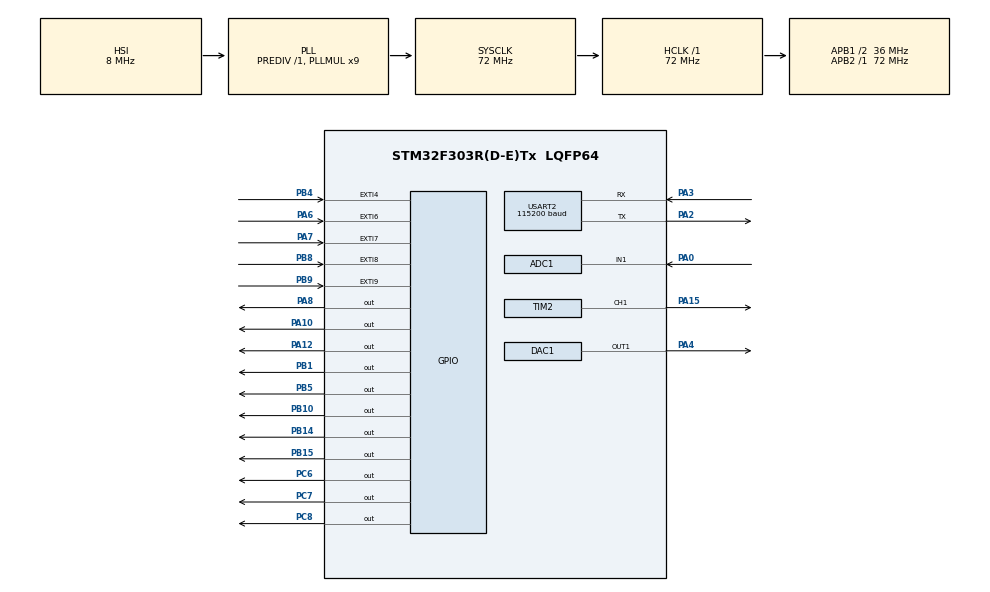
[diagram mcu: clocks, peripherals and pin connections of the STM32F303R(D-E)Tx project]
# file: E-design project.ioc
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ADC1.Channel-1\#ChannelRegularConversion=ADC_CHANNEL_1
ADC1.NbrOfConversionFlag=1
ADC1.Offset-1\#ChannelRegularConversion=0
ADC1.OffsetNumber-1\#ChannelRegularConversion=ADC_OFFSET_NONE
ADC1.Rank-1\#ChannelRegularConversion=1
ADC1.SamplingTime-1\#ChannelRegularConversion=ADC_SAMPLETIME_1CYCLE_5
ADC1.master=1
DAC1.DAC_Trigger=DAC_TRIGGER_T3_TRGO
Dma.DAC1_CH1.0.Direction=DMA_MEMORY_TO_PERIPH
Dma.DAC1_CH1.0.Instance=DMA1_Channel3
Dma.DAC1_CH1.0.MemDataAlignment=DMA_MDATAALIGN_WORD
Dma.DAC1_CH1.0.MemInc=DMA_MINC_ENABLE
Dma.DAC1_CH1.0.Mode=DMA_CIRCULAR
Dma.DAC1_CH1.0.PeriphDataAlignment=DMA_PDATAALIGN_WORD
Dma.DAC1_CH1.0.PeriphInc=DMA_PINC_DISABLE
Dma.DAC1_CH1.0.Priority=DMA_PRIORITY_LOW
Dma.Request0=DAC1_CH1
Mcu.Family=STM32F3
Mcu.Name=STM32F303R(D-E)Tx
Mcu.Package=LQFP64
NVIC.DMA1_Channel3_IRQn=true\:0\:0\:false\:false\:true\:false\:true
NVIC.EXTI4_IRQn=true\:0\:0\:false\:false\:true\:true\:true
NVIC.EXTI9_5_IRQn=true\:0\:0\:false\:false\:true\:true\:true
NVIC.PriorityGroup=NVIC_PRIORITYGROUP_0
NVIC.TIM2_IRQn=true\:0\:0\:false\:false\:true\:true\:true
NVIC.USART2_IRQn=true\:0\:0\:false\:false\:true\:true\:true
PA0.Mode=IN1-Single-Ended
PA0.Signal=ADC1_IN1
PA10.GPIO_ModeDefaultOutputPP=GPIO_MODE_OUTPUT_OD
PA10.Signal=GPIO_Output
PA12.GPIO_ModeDefaultOutputPP=GPIO_MODE_OUTPUT_OD
PA12.Signal=GPIO_Output
PA13.Mode=Serial_Wire
PA13.Signal=SYS_JTMS-SWDIO
PA14.Mode=Serial_Wire
PA14.Signal=SYS_JTCK-SWCLK
PA15.Signal=S_TIM2_CH1_ETR
PA2.Mode=Asynchronous
PA2.Signal=USART2_TX
PA3.Mode=Asynchronous
PA3.Signal=USART2_RX
PA4.Signal=COMP_DAC11_group
PA6.GPIO_PuPd=GPIO_PULLUP
PA6.Signal=GPXTI6
PA7.GPIO_PuPd=GPIO_PULLUP
PA7.Signal=GPXTI7
PA8.Signal=GPIO_Output
PB1.Signal=GPIO_Output
PB10.Signal=GPIO_Output
PB14.Signal=GPIO_Output
PB15.Signal=GPIO_Output
PB4.GPIO_PuPd=GPIO_PULLUP
PB4.Signal=GPXTI4
PB5.Signal=GPIO_Output
PB8.GPIO_PuPd=GPIO_PULLUP
PB8.Signal=GPXTI8
PB9.GPIO_PuPd=GPIO_PULLUP
PB9.Signal=GPXTI9
PC14-OSC32_IN.Mode=LSE-External-Oscillator
PC14-OSC32_IN.Signal=RCC_OSC32_IN
PC15-OSC32_OUT.Mode=LSE-External-Oscillator
PC15-OSC32_OUT.Signal=RCC_OSC32_OUT
PC6.GPIO_ModeDefaultOutputPP=GPIO_MODE_OUTPUT_OD
PC6.Signal=GPIO_Output
PC7.Signal=GPIO_Output
PC8.GPIO_ModeDefaultOutputPP=GPIO_MODE_OUTPUT_OD
PC8.Signal=GPIO_Output
PF0-OSC_IN.Mode=HSE-External-Clock-Source
PF0-OSC_IN.Signal=RCC_OSC_IN
ProjectManager.HeapSize=0x200
ProjectManager.StackSize=0x400
ProjectManager.TargetToolchain=STM32CubeIDE
RCC.AHBFreq_Value=72000000
RCC.APB1CLKDivider=RCC_HCLK_DIV2
RCC.APB1Freq_Value=36000000
RCC.APB1TimFreq_Value=72000000
RCC.APB2Freq_Value=72000000
RCC.APB2TimFreq_Value=72000000
RCC.CortexFreq_Value=72000000
RCC.HCLKFreq_Value=72000000
RCC.HSE_VALUE=8000000
RCC.HSI_VALUE=8000000
RCC.PLLM=8
RCC.PLLMUL=RCC_PLL_MUL9
RCC.PLLN=336
RCC.PLLP=RCC_PLLP_DIV4
RCC.PLLQ=7
RCC.RCC_PLLsource_Clock_Source_FROM_HSE=RCC_HSE_PREDIV_DIV2
RCC.SYSCLKFreq_VALUE=72000000
RCC.SYSCLKSourceVirtual=RCC_SYSCLKSOURCE_PLLCLK
RCC.USBFreq_Value=72000000
SH.COMP_DAC11_group.0=DAC1_OUT1,DAC_OUT1
SH.S_TIM2_CH1_ETR.0=TIM2_CH1,Output Compare1 CH1
TIM1.Period=0xffff
TIM1.Prescaler=72-1
TIM2.Channel-Output\ Compare1\ CH1=TIM_CHANNEL_1
TIM2.Period=99
TIM2.Prescaler=71
TIM3.Period=10-1
TIM3.Prescaler=72-1
TIM3.TIM_MasterOutputTrigger=TIM_TRGO_UPDATE
USART2.BaudRate=115200
USART2.VirtualMode-Asynchronous=VM_ASYNC
VP_TIM1_VS_ClockSourceINT.Mode=Internal
VP_TIM2_VS_ClockSourceINT.Mode=Internal
VP_TIM3_VS_ClockSourceINT.Mode=Internal
board=NUCLEO-F303RE

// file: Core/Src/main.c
/* USER CODE BEGIN Header */
/**
  ******************************************************************************
  * @file           : main.c
  * @brief          : Main program body
  ******************************************************************************
  * @attention
  *
  * <h2><center>&copy; Copyright (c) 2022 STMicroelectronics.
  * All rights reserved.</center></h2>
  *
  * This software component is licensed by ST under BSD 3-Clause license,
  * the "License"; You may not use this file except in compliance with the
  * License. You may obtain a copy of the License at:
  *                        opensource.org/licenses/BSD-3-Clause
  *
  ******************************************************************************
  */
/* USER CODE END Header */

#include "main.h"

/* USER CODE BEGIN Includes */
#include <stdio.h>
#include <stdlib.h>
#include <math.h>

/* USER CODE END Includes */

/* USER CODE BEGIN PD */
#define RS_PORT GPIOB
#define RS_PIN GPIO_PIN_14
#define RW_PORT GPIOB
#define RW_PIN GPIO_PIN_15
#define EN_PORT GPIOB
#define EN_PIN GPIO_PIN_1
#define D4_PORT GPIOA
#define D4_PIN GPIO_PIN_10
#define D5_PORT GPIOA
#define D5_PIN GPIO_PIN_12
#define D6_PORT GPIOC
#define D6_PIN GPIO_PIN_6
#define D7_PORT GPIOC
#define D7_PIN GPIO_PIN_8
#define PI 3.1415926
/* USER CODE END PD */

ADC_HandleTypeDef hadc1;

DAC_HandleTypeDef hdac1;
DMA_HandleTypeDef hdma_dac1_ch1;

TIM_HandleTypeDef htim1;
TIM_HandleTypeDef htim2;
TIM_HandleTypeDef htim3;

UART_HandleTypeDef huart2;

/* USER CODE BEGIN PV */
extern volatile int ADC_trigger;

/* USER CODE END PV */

void SystemClock_Config(void);
static void MX_GPIO_Init(void);
static void MX_DMA_Init(void);
static void MX_USART2_UART_Init(void);
static void MX_ADC1_Init(void);
static void MX_DAC1_Init(void);
static void MX_TIM2_Init(void);
static void MX_TIM3_Init(void);
static void MX_TIM1_Init(void);

/* USER CODE BEGIN 0 */

//student number
uint8_t sn[13] = "@,23594780,!\n";
uint8_t marker[6] = "Marker";
uint8_t rx[1];

//Status
uint8_t receiveCommand = 0;
uint8_t measurementMode[2] = "DV";
uint8_t outputType[1] = "d";
uint8_t outputState = 1;
uint8_t measureParameter;
uint8_t commandType = 0;
enum measureTypes{t, a, o, f, d, c};
enum measureTypes measure_type;

//ADC variables
uint32_t adc_measure = 0;
uint32_t prev_measure = 0;
uint8_t max_reached = 1;
uint8_t min_reached = 0 ;

double period = 0;
double freq = 0;
double pk_volt = 0;
double offset = 0;
uint32_t nr_measured_dv = 1;
uint32_t nr_measured_av = 1;
uint32_t total_measured = 0;
double avg_dv_val = 0;
double avg_av_val = 0;

uint32_t max = 0 ;
uint32_t min = 4095 ;
uint32_t hundred= 100;
uint8_t sampling_enabled = 0;
double nr_samples = 0;
double sampling_freq = 10000;
uint32_t avg_cross = 0;

uint8_t type = 100;
uint64_t freq_int = 0;
uint64_t avg_dv_int = 1000;
uint64_t offset_int = 0;
uint64_t amp_int = 0;

//Call back function
uint8_t counter = 0;
uint8_t input[20];
uint8_t numBytes;

//System state is in Menu state (indicated by a 0)
uint8_t systemState = 1;
uint8_t prevSystemState = 2;

//DAC variables
uint8_t startDMA = 0;
uint8_t stopDMA = 0;
uint32_t signal_buffer[1000];

float amplitude_DAC = 1000;
uint32_t frequency_DAC = 1000;
float DC_offset_DAC = 1000;
float S_offset_DAC = 1200;
uint32_t duty_cycle_DAC = 0;
uint8_t signal_type_DAC[1] = "d";
uint8_t parameter_type_DAC[1] = "o";

//LCD variables
uint8_t clearFlag = 0;
uint8_t lcdDisplay = 1;
uint8_t stateOne = 0;
uint8_t stateTwo = 0;

//Menu variables
uint8_t display_state = 1;
uint32_t lastTick = 20000;
uint8_t measurement_state = 1;
uint8_t output_branch_state = 1;
int amp;
int offset1;
int freq1;
int dutcyc;

//LCD display flags
uint8_t measurement_state_has_displayed = 0;
uint8_t system_state_1_has_displayed = 0;
uint8_t output_state_has_displayed = 0;
uint8_t display_state_2_has_displayed = 0;
uint8_t output_LED_has_displayed = 0;

//Button variables
int downButtonPressed;
int upButtonPressed;
int rightButtonPressed;
int leftButtonPressed;
int buttonPressed;

uint32_t lastTick0 = 0;
uint32_t lastTick1 = 0;
uint32_t lastTick2 = 0;
uint32_t lastTick3 = 0;
uint32_t lastTick4 = 0;

//Helping comment
/*
measurement_state_has_displayed = 0;
system_state_1_has_displayed = 0;
output_state_has_displayed = 0;
display_state_2_has_displayed = 0;
systemState = 1;
measurement_state = 1;
output_branch_state = 1;
display_state = 1;
*/

void delay (uint16_t us)
{
  __HAL_TIM_SET_COUNTER(&htim1, 0);
  while (__HAL_TIM_GET_COUNTER(&htim1) < us);
}

void HAL_GPIO_EXTI_Callback(uint16_t GPIO_Pin)
 {
	if (GPIO_Pin == GPIO_PIN_4) {
		if ((HAL_GetTick() - lastTick0) > 100) {
			buttonPressed = 1;
			lastTick0 = HAL_GetTick();
		}
	} else if (GPIO_Pin == GPIO_PIN_6) {
		if (HAL_GetTick() - lastTick1 > 100) {
			downButtonPressed = 1;
			lastTick1 = HAL_GetTick();
		}
	} else if (GPIO_Pin == GPIO_PIN_7) {
		if (HAL_GetTick() - lastTick2 > 100) {
			rightButtonPressed = 1;
			lastTick2 = HAL_GetTick();
		}
	} else if (GPIO_Pin == GPIO_PIN_8) {
		if (HAL_GetTick() - lastTick3 > 100) {
			leftButtonPressed = 1;
			lastTick3 = HAL_GetTick();
		}
	} else if (GPIO_Pin == GPIO_PIN_9) {
		if ((HAL_GetTick() - lastTick4) > 100) {
			upButtonPressed = 1;
			lastTick4 = HAL_GetTick();
		}
	}
}

void HAL_UART_RxCpltCallback(UART_HandleTypeDef *huart)
{

	if (rx[0] != 10)
	{
		input[counter] = rx[0];
		counter++;
	}
	else
	{
		input[counter] = 10;
		numBytes = counter+1;
		counter = 0;
		receiveCommand = 1;
	}

	HAL_UART_Receive_IT(&huart2, rx, 1);
}

void determineCommandType()
{

	if (input[0] == 64 && input[2] == 35)
	{
		commandType = 1;
	}
	else if (input[0] == 64 && input[2] == 36)
	{
		commandType = 2;
	}
	else if (input[0] == 64 && input[2] == 94)
	{
		commandType = 3;
	}
	else if (input[0] == 64 && input[2] == 42 && input[4] == 115)
	{
		commandType = 4;
	}
	else if (input[0] == 64 && input[2] == 42 && input[4] == 109)
	{
		commandType = 5;
	}
	else
	{
		commandType = 0;
	}
}

void adc_Measure() {

	HAL_ADC_Start(&hadc1);
	HAL_StatusTypeDef res = HAL_ADC_PollForConversion(&hadc1, 50);

	if (res == HAL_OK) {

		adc_measure = HAL_ADC_GetValue(&hadc1);

		//calibrating error of adc value:
		if (adc_measure > 100 && adc_measure < 200) {
			adc_measure += 50;
		}
		else if (adc_measure >= 200 && adc_measure < 300)
		{
			adc_measure += 60;
		}
		else if (adc_measure >= 300 && adc_measure < 400)
		{
			adc_measure += 75;
		}
		else if (adc_measure >= 400 && adc_measure <1000)
		{
			adc_measure += 110;
		}
		else if (adc_measure >= 1000)
		{
			adc_measure += 120;
		}

		if (measurementMode[0] == 'D' && measurementMode[1] == 'V') {

			//for dc count measurements and sum measurements
			//avg = total/count
			total_measured += adc_measure;
			if (nr_measured_dv == 2000) {
				avg_dv_val = total_measured / nr_measured_dv;
				avg_dv_val = avg_dv_val / 4095 * 3300;
				avg_dv_int = (uint64_t) (avg_dv_val*2);
				total_measured = 0;
				nr_measured_dv = 1;

			}
			nr_measured_dv++;
		}

		if (measurementMode[0] == 'A' && measurementMode[1] == 'V') {
			//get max
			if (adc_measure >= max) {
				max = adc_measure;
			}
			//get min
			if (adc_measure <= min) {
				min = adc_measure;
			}

			//counts how many times avg crossed
			//only triggered to count once every period (min_reached controls this)
			if ((adc_measure >= avg_av_val) && (min_reached)) {
				max_reached = 1;
				avg_cross++;

				//freq avg in 100 waves
				if (avg_cross == 100) {
					//freg = asamp_freq/(nr_samples since last avg cross)
					freq = (sampling_freq / nr_samples) * 100;
					freq_int = (uint64_t) (freq*2);
					nr_samples = 0;
					avg_cross = 0;
				}
				min_reached = 0;
			}

			nr_samples += 1;

			if ((adc_measure <= avg_av_val) && (max_reached)) {
				min_reached = 1;
				max_reached = 0;
			}

			total_measured += adc_measure;
			nr_measured_av++;

			if (nr_measured_av == 7000) {
				avg_av_val = total_measured / nr_measured_av;
				pk_volt = max - min;
				pk_volt = (pk_volt) / 4095 * 3300;

				amp_int = (uint64_t) (pk_volt*2);

				offset = avg_av_val / 4095 * 3300;
				offset_int = (uint64_t) (offset*2);

				total_measured = 0;
				nr_measured_av = 0;
				max = 0;
				min = 4095;
			}

		}
	}
	HAL_ADC_Stop(&hadc1);
}

void commandFourResponse()
{
	outputState = input[6]-48;
	if (outputState == 1)
	{
		stopDMA = 0;
	}

	uint8_t statusMessage[11] = "@,xx,x,x,!x";
	statusMessage[2] = measurementMode[0];
	statusMessage[3] = measurementMode[1];
	statusMessage[5] = signal_type_DAC[0];
	statusMessage[7] = input[6];
	statusMessage[10] = 10;
	HAL_UART_Transmit(&huart2, statusMessage, 11, 50);
}

void send_to_lcd (char data, int rs)
{
	HAL_GPIO_WritePin(RS_PORT, RS_PIN, rs);  // rs = 1 for data, rs=0 for command

	/* write the data to the respective pin */
	HAL_GPIO_WritePin(D7_PORT, D7_PIN, ((data>>3)&0x01));
	HAL_GPIO_WritePin(D6_PORT, D6_PIN, ((data>>2)&0x01));
	HAL_GPIO_WritePin(D5_PORT, D5_PIN, ((data>>1)&0x01));
	HAL_GPIO_WritePin(D4_PORT, D4_PIN, ((data>>0)&0x01));

	/* Toggle EN PIN to send the data
	 * if the HCLK > 100 MHz, use the  20 us delay
	 * if the LCD still doesn't work, increase the delay to 50, 80 or 100..
	 */
	HAL_GPIO_WritePin(EN_PORT, EN_PIN, 1);
	delay(20);
	HAL_GPIO_WritePin(EN_PORT, EN_PIN, 0);
	delay(20);

}

void lcd_send_cmd (char cmd)
{
    char datatosend;
    /* send upper nibble first */
    datatosend = ((cmd>>4)&0x0f);
    send_to_lcd(datatosend,0);  // RS must be while sending command
    /* send Lower Nibble */
    datatosend = ((cmd)&0x0f);
    send_to_lcd(datatosend, 0);
}

void lcd_send_data (char data)
{
    char datatosend;

    /* send higher nibble */
    datatosend = ((data>>4)&0x0f);
    send_to_lcd(datatosend, 1);  // rs =1 for sending data
    /* send Lower nibble */
    datatosend = ((data)&0x0f);
    send_to_lcd(datatosend, 1);
}

void lcd_put_cur(int row, int col)
{
    switch (row)
    {
        case 0:
            col |= 0x80;
            break;
        case 1:
            col |= 0xC0;
            break;
    }
    lcd_send_cmd (col);
}

void lcd_init (void)
{
    // 4 bit initialisation
    HAL_Delay(50);  // wait for >40ms
    lcd_send_cmd (0x30);
    HAL_Delay(5);  // wait for >4.1ms
    lcd_send_cmd (0x30);
    HAL_Delay(1);  // wait for >100us
    lcd_send_cmd (0x30);
    HAL_Delay(10);
    lcd_send_cmd (0x20);  // 4bit mode
    HAL_Delay(10);

  // dislay initialisation
    lcd_send_cmd (0x28); // Function set --> DL=0 (4 bit mode), N = 1 (2 line display) F = 0 (5x8 characters)
    HAL_Delay(1);
    lcd_send_cmd (0x08); //Display on/off control --> D=0,C=0, B=0  ---> display off
    HAL_Delay(1);
    lcd_send_cmd (0x01);  // clear display
    HAL_Delay(1);
    HAL_Delay(1);
    lcd_send_cmd (0x06); //Entry mode set --> I/D = 1 (increment cursor) & S = 0 (no shift)
    HAL_Delay(1);
    lcd_send_cmd (0x0E); //Display on/off control --> D = 1, C and B = 0. (Cursor and blink, last two bits)
}

void lcd_send_string (char *str)
{
	while (*str) lcd_send_data (*str++);
}

void lcd_clear (void)
{
	lcd_send_cmd(0x01);
	HAL_Delay(2);
}

void lcd_scroll_left_or_right(int left)
{
	if (left == 1)
	{
		lcd_send_cmd(0x1c);
	}
	else
	{
		lcd_send_cmd(0x18);
	}
}

void calculateDCSignalBuffer(uint32_t offset)
{

	for (int i = 0; i < 1000; i++)
	{
		signal_buffer[i] = ((offset*0.49)*4095.0/3300.0);
	}
}

void calculateSinusoidalSignalBuffer(float amplitude, uint32_t frequency, float offset)
{
	int ns = 100000/frequency;
	offset = offset/1000;
	amplitude = amplitude/1000;

	for (int i = 0; i < 1000; i++)
	{
		signal_buffer[i] = (amplitude*sin(i*2*PI/ns)/3.3 + offset*0.571)*(4096/2);
	}
}

void calculateSinusoidalSignalBuffer1(float amplitude, uint32_t frequency, float offset)
{
	int ns = 100000/frequency;
	offset = offset/1000;
	amplitude = amplitude/1000;

	for (int i = 0; i < 1000; i++)
	{
		signal_buffer[i] = (amplitude*0.246*sin(i*2*PI/ns)+(0.5*offset))*(4096/3.3);
	}
}

void calculateSinusoidalSignalBuffer2(float amplitude, uint32_t frequency, float offset)
{
	int signal_frequency = 200000/frequency;

	for (int i = 0; i < 2000; i++)
	{
		signal_buffer[i] = (((amplitude/2000) * sin(i*2*PI/signal_frequency) + offset/2000) * (4096/3.3));
	}
}

void calculatePulseSignalBuffer(float amplitude, uint32_t frequency, float offset, uint32_t duty_cycle)
{
	int num;
	int num1 = 100000/frequency;
	num = num1*(duty_cycle/100.0);

	for (int i = 0; i < 1000; i++)
	{
		if (i%num1 < num)
		{
			signal_buffer[i] = (((amplitude+offset)*0.49)*4095.0/3300.0);
		}
		else
		{
			signal_buffer[i] = ((offset*0.49)*4095.0/3300.0);
		}

	}
}

void fillBuffer(uint8_t signal_type_DAC[], float amplitude, uint32_t frequency, float offset)
{
	if (signal_type_DAC[0] == 'd')
	{
	calculateDCSignalBuffer(offset);
	}
	else if (signal_type_DAC[0] == 's')
	{
		calculateSinusoidalSignalBuffer(amplitude, frequency, offset);
	}
}

void setDACValue() {
	if (input[4] == 't') {
		signal_type_DAC[0] = input[6];
	} else {
		int value = ((input[6] - 48) * 1000) + ((input[7] - 48) * 100)
				+ ((input[8] - 48) * 10) + (input[9] - 48);

		if (parameter_type_DAC[0] == 'a') {
			amplitude_DAC = value;
		} else if (parameter_type_DAC[0] == 'o') {
			if (signal_type_DAC[0] == 'd') {
				DC_offset_DAC = value;
			} else if (signal_type_DAC[0] == 's') {
				S_offset_DAC = value;
			}
		} else if (parameter_type_DAC[0] == 'f') {
			frequency_DAC = value;
		} else if (parameter_type_DAC[0] == 'd') {
			duty_cycle_DAC = value;
		}

	}
}

void outputDAC()
{
	if (startDMA == 0)
	{
		if (signal_type_DAC[0] == 'd')
			{
			HAL_TIM_Base_Start(&htim3);
			calculateDCSignalBuffer(DC_offset_DAC);
			HAL_DAC_Start_DMA(&hdac1, DAC1_CHANNEL_1, signal_buffer, 1000, DAC_ALIGN_12B_R);
			}
			else if (signal_type_DAC[0] == 's')
			{
				HAL_TIM_Base_Start(&htim3);
				calculateSinusoidalSignalBuffer1(amplitude_DAC, frequency_DAC, S_offset_DAC);
				HAL_DAC_Start_DMA(&hdac1, DAC1_CHANNEL_1, signal_buffer, 1000, DAC_ALIGN_12B_R);
			} else if (signal_type_DAC[0] == 'p')
			{
				HAL_TIM_Base_Start(&htim3);
				calculatePulseSignalBuffer(amplitude_DAC, frequency_DAC, S_offset_DAC, duty_cycle_DAC);
				HAL_DAC_Start_DMA(&hdac1, DAC1_CHANNEL_1, signal_buffer, 1000, DAC_ALIGN_12B_R);
			}
		startDMA = 1;
	}

}

void stopOutputDAC()
{
	HAL_TIM_Base_Stop_IT(&htim3);
	HAL_DAC_Stop_DMA(&hdac1, DAC1_CHANNEL_1);
	startDMA = 0;

}

int determineValue()
{
	int16_t value = 0;

	if (input[6] == 116) {
		value = -1;
	} else if (input[6] == 97) {
		value = amp_int;
	} else if (input[6] == 111) {
		if (measurementMode[0] == 'D' && measurementMode[1] == 'V')
		{
			value = avg_dv_int;
		}
		else if (measurementMode[0] == 'A' && measurementMode[1] == 'V')
		{
			value = offset_int;
		}

	} else if (input[6] == 102) {
		value = freq_int;
	}

	return value;
}

void displayMeasurementMessage(int16_t value)
{
	uint8_t measurementMessage[13];

	if (value < 0) {
		measurementMessage[0] = 64;
		measurementMessage[1] = 44;
		measurementMessage[2] = 42;
		measurementMessage[3] = 44;
		measurementMessage[4] = measureParameter;
		measurementMessage[5] = 44;
		measurementMessage[6] = 32;
		measurementMessage[7] = type;
		measurementMessage[8] = 32;
		measurementMessage[9] = 32;
		measurementMessage[10] = 44;
		measurementMessage[11] = 33;
		measurementMessage[12] = 10;
	} else {
		uint8_t valueInStringForm[4] = "0000";
		valueInStringForm[0] = ((value / 1000) % 10) + 48;
		valueInStringForm[1] = ((value / 100) % 10) + 48;
		valueInStringForm[2] = ((value / 10) % 10) + 48;
		valueInStringForm[3] = (value % 10) + 48;
		measurementMessage[0] = 64;
		measurementMessage[1] = 44;
		measurementMessage[2] = 42;
		measurementMessage[3] = 44;
		measurementMessage[4] = measureParameter;
		measurementMessage[5] = 44;
		measurementMessage[6] = valueInStringForm[0];
		measurementMessage[7] = valueInStringForm[1];
		measurementMessage[8] = valueInStringForm[2];
		measurementMessage[9] = valueInStringForm[3];
		measurementMessage[10] = 44;
		measurementMessage[11] = 33;
		measurementMessage[12] = 10;
	}
	HAL_UART_Transmit(&huart2, measurementMessage, 13, 50);
}

void executeLCDCommand()
{
	uint8_t byte;
	byte = input[6];

}

void executeCommand()
{
	if (commandType == 1) {
		executeLCDCommand();
	} else if (commandType == 2) {
		measurementMode[0] = input[4];
		measurementMode[1] = input[5];
		measurement_state_has_displayed = 0;
		system_state_1_has_displayed = 0;
		output_state_has_displayed = 0;
		display_state_2_has_displayed = 0;
		systemState = 2;
		if (measurementMode[0] == 'D' && measurementMode[1] == 'V')
		{
			measurement_state = 2;
		}
		else if (measurementMode[0] == 'A' && measurementMode[1] == 'V')
		{
			measurement_state = 3;
		}
		output_branch_state = 1;
		display_state = 1;
		lcd_clear();
	} else if (commandType == 3) {
		parameter_type_DAC[0] = input[4];
		measurement_state_has_displayed = 0;
		system_state_1_has_displayed = 0;
		output_state_has_displayed = 0;
		display_state_2_has_displayed = 0;
		systemState = 3;
		measurement_state = 1;
		display_state = 1;
		setDACValue();
		if (parameter_type_DAC[0] == 't') {
			if (signal_type_DAC[0] == 'd') {
				output_branch_state = 3;
			} else if (signal_type_DAC[0] == 's') {
				output_branch_state = 4;
			} else if (signal_type_DAC[0] == 'p') {
				output_branch_state = 5;
			}
		} else if (parameter_type_DAC[0] == 'a') {
				output_branch_state = 8;
		} else if (parameter_type_DAC[0] == 'o') {
				output_branch_state = 10;
		} else if (parameter_type_DAC[0] == 'f') {
				output_branch_state = 12;
		} else if (parameter_type_DAC[0] == 'd') {
				output_branch_state = 14;
		}
		lcd_clear();
	} else if (commandType == 4) {
		commandFourResponse();
		measurement_state_has_displayed = 0;
		system_state_1_has_displayed = 0;
		output_state_has_displayed = 0;
		display_state_2_has_displayed = 0;
		systemState = 3;
		measurement_state = 1;
		display_state = 1;
		if (outputState == 1)
		{
			output_branch_state = 16;
		}
		else if (outputState == 0)
		{
			output_branch_state = 17;
		}
		lcd_clear();

	} else if (commandType == 5) {
		measureParameter = input[6];
		int16_t value = determineValue();
		displayMeasurementMessage(value);
		measurement_state_has_displayed = 0;
		system_state_1_has_displayed = 0;
		output_state_has_displayed = 0;
		display_state_2_has_displayed = 0;
		systemState = 1;
		output_branch_state = 1;
		display_state = 2;
		measurement_state = 1;
		lcd_clear();
	}
}

void measure_ADC_output_DAC()
{
	if (ADC_trigger == 1) {
		adc_Measure();
		ADC_trigger = 0;
	}

	if (outputState == 1) {
		outputDAC();
	} else {
		if (stopDMA == 0)
		{
		stopOutputDAC();
		stopDMA = 1;
		}
	}
}

void executeMeasurementOutput()
{
	if (display_state_2_has_displayed == 0)
	{
		HAL_GPIO_WritePin(GPIOA, GPIO_PIN_8, 1);
		display_state_2_has_displayed = 1;
	}

	if (HAL_GetTick() - lastTick > 7000) {
		lcd_clear();
		lastTick = HAL_GetTick();

		if (measurementMode[0] == 'D' && measurementMode[1] == 'V') {
			char displayString[] = "X.XXXV";
			displayString[0] = (avg_dv_int / 1000) + 48;
			displayString[2] = ((avg_dv_int % 1000) / 100) + 48;
			displayString[3] = ((avg_dv_int % 100) / 10) + 48;
			displayString[4] = (avg_dv_int % 10) + 48;
			lcd_send_string(displayString);
		} else if (measurementMode[0] == 'A' && measurementMode[1] == 'V') {
			char displayString[] = "O:x.xxxV,A:x.xxxV,F:xxxxHz";
			displayString[2] = (offset_int/1000)+48;
			displayString[4] = ((offset_int%1000)/100)+48;
			displayString[5] = ((offset_int%100)/10)+48;
			displayString[6] = (offset_int%10)+48;
			displayString[11] = (amp_int/1000)+48;
			displayString[13] = ((amp_int%1000)/100)+48;
			displayString[14] = ((amp_int%100)/10)+48;
			displayString[15] = (amp_int%10)+48;
			displayString[20] = (freq_int/1000)+48;
			displayString[21] = ((freq_int%1000)/100)+48;
			displayString[22] = ((freq_int%100)/10)+48;
			displayString[23] = (freq_int%10)+48;
			lcd_send_string(displayString);
		}

		lcd_put_cur(1, 0);
		if (outputState == 1) {
			if (signal_type_DAC[0] == 'd')
			{
			char displayString[] = "X.XXXV";
			displayString[0] = (((int)DC_offset_DAC) / 1000) + 48;
			displayString[2] = ((((int)DC_offset_DAC) % 1000) / 100) + 48;
			displayString[3] = ((((int)DC_offset_DAC) % 100) / 10) + 48;
			displayString[4] = (((int)DC_offset_DAC) % 10) + 48;
			lcd_send_string(displayString);
			}
			else if (signal_type_DAC[0] == 's')
			{
				char displayString[] = "O:x.xxxV,A:x.xxxV,F:xxxxHz";
				displayString[2] = (((int)S_offset_DAC) / 1000) + 48;
				displayString[4] = ((((int)S_offset_DAC) % 1000) / 100) + 48;
				displayString[5] = ((((int)S_offset_DAC) % 100) / 10) + 48;
				displayString[6] = (((int)S_offset_DAC) % 10) + 48;
				displayString[11] = (((int)amplitude_DAC) / 1000) + 48;
				displayString[13] = ((((int)amplitude_DAC) % 1000) / 100) + 48;
				displayString[14] = ((((int)amplitude_DAC) % 100) / 10) + 48;
				displayString[15] = (((int)amplitude_DAC) % 10) + 48;
				displayString[20] = (((int)frequency_DAC) / 1000) + 48;
				displayString[21] = ((((int)frequency_DAC) % 1000) / 100) + 48;
				displayString[22] = ((((int)frequency_DAC) % 100) / 10) + 48;
				displayString[23] = (((int)frequency_DAC) % 10) + 48;
				lcd_send_string(displayString);
			}
			else if (signal_type_DAC[0] == 'p')
			{
				char displayString[] = "”O:x.xxxV,A:x.xxxV,F:xxxxHz,D:xxx%";
				displayString[2] = (((int)S_offset_DAC) / 1000) + 48;
				displayString[4] = ((((int)S_offset_DAC) % 1000) / 100) + 48;
				displayString[5] = ((((int)S_offset_DAC) % 100) / 10) + 48;
				displayString[6] = (((int)S_offset_DAC) % 10) + 48;
				displayString[11] = (((int)amplitude_DAC) / 1000) + 48;
				displayString[13] = ((((int)amplitude_DAC) % 1000) / 100) + 48;
				displayString[14] = ((((int)amplitude_DAC) % 100) / 10) + 48;
				displayString[15] = (((int)amplitude_DAC) % 10) + 48;
				displayString[20] = (((int)frequency_DAC) / 1000) + 48;
				displayString[21] = ((((int)frequency_DAC) % 1000) / 100) + 48;
				displayString[22] = ((((int)frequency_DAC) % 100) / 10) + 48;
				displayString[23] = (((int)frequency_DAC) % 10) + 48;
				displayString[28] = (((int)duty_cycle_DAC) / 100) + 48;
				displayString[29] = (((int)duty_cycle_DAC)%100)+48;
				displayString[30] = (((int)duty_cycle_DAC)%10)+48;
				lcd_send_string(displayString);
			}
		} else if (outputState == 0) {
			lcd_put_cur(1, 0);
			lcd_send_string("OUTPUT OFF");
		}
	}

	if (leftButtonPressed == 1)
	{
		leftButtonPressed = 0;
		lcd_scroll_left_or_right(1);
	}
	else if (rightButtonPressed == 1)
	{
		rightButtonPressed = 0;
		lcd_scroll_left_or_right(0);
	}

	if (buttonPressed == 1) {
		display_state = 1;
		buttonPressed = 0;
		display_state_2_has_displayed = 0;
		HAL_GPIO_WritePin(GPIOA, GPIO_PIN_8, 0);
		lcd_clear();
	}
}

void executeStartMessage()
{
	if (system_state_1_has_displayed == 0)
		{
		//lcd_send_string("Sam's Menu");
		lcd_send_string("Snozzi's Menu");
		lcd_put_cur(1,0);
		lcd_send_string("Measure/Output");
		system_state_1_has_displayed = 1;
		HAL_GPIO_WritePin(GPIOB, GPIO_PIN_5, 1);
		buttonPressed = 0;
		}
		if (buttonPressed == 1)
		{
			buttonPressed = 0;
			display_state = 2;
			lcd_clear();
			system_state_1_has_displayed = 0;
			HAL_GPIO_WritePin(GPIOB, GPIO_PIN_5, 0);
		} else if(downButtonPressed == 1)
		{
			systemState = 2;
			downButtonPressed = 0;
			lcd_clear();
			system_state_1_has_displayed = 0;
		}
}

void executeMeasurementState()
{
		if (measurement_state == 1)
		{
			if (measurement_state_has_displayed == 0)
			{
			lcd_send_string("MEASURE");
			lcd_put_cur(1,0);
			lcd_send_string("MODE");
			measurement_state_has_displayed = 1;
			}
			if (downButtonPressed == 1)
			{
				downButtonPressed = 0;
				measurement_state = 2;
				lcd_clear();
				measurement_state_has_displayed = 0;
			} else if (rightButtonPressed == 1)
			{
				rightButtonPressed = 0;
				systemState = 3;
				lcd_clear();
				measurement_state_has_displayed = 0;
			} else if (upButtonPressed == 1)
			{
				upButtonPressed = 0;
				systemState = 1;
				lcd_clear();
				measurement_state_has_displayed = 0;
				measurement_state = 1;
			}
		}
		else if (measurement_state == 2)
		{
			if (measurement_state_has_displayed == 0)
			{
			lcd_send_string("DC VOLTAGE");
			measurement_state_has_displayed = 1;
				if (measurementMode[0] == 'D' && measurementMode[1] == 'V')
				{
					lcd_put_cur(1,0);
					lcd_send_string("SET");
				}
			}
			if (buttonPressed == 1)
			{
				buttonPressed = 0;
				measurementMode[0] = 'D';
				measurementMode[1] = 'V';
				measurement_state_has_displayed = 0;
				lcd_clear();
			}
			else if (rightButtonPressed == 1)
			{
				rightButtonPressed = 0;
				measurement_state = 3;
				lcd_clear();
				measurement_state_has_displayed = 0;
			} else if (upButtonPressed == 1)
			{
				upButtonPressed = 0;
				measurement_state = 1;
				lcd_clear();
				measurement_state_has_displayed = 0;
			}
		}
		else if (measurement_state == 3)
		{
			if (measurement_state_has_displayed == 0)
			{
			lcd_send_string("AC VOLTAGE");
			measurement_state_has_displayed = 1;
			if (measurementMode[0] == 'A' && measurementMode[1] == 'V')
			{
				lcd_put_cur(1,0);
				lcd_send_string("SET");
			}
			}
			if (buttonPressed == 1)
			{
				buttonPressed = 0;
				measurementMode[0] = 'A';
				measurementMode[1] = 'V';
				measurement_state_has_displayed = 0;
				lcd_clear();
			}
			else if (leftButtonPressed == 1)
			{
				leftButtonPressed = 0;
				measurement_state = 2;
				lcd_clear();
				measurement_state_has_displayed = 0;
			}
			else if (upButtonPressed == 1)
			{
				upButtonPressed = 0;
				measurement_state = 1;
				lcd_clear();
				measurement_state_has_displayed = 0;
			}
		}
}

void branchesOneToSix()
{
	if (output_branch_state == 1) {
		if (output_state_has_displayed == 0) {
			lcd_send_string("SIG GEN");
			output_state_has_displayed = 1;
		}

		if (downButtonPressed == 1) {
			downButtonPressed = 0;
			output_branch_state = 2;
			output_state_has_displayed = 0;
			lcd_clear();
		} else if (upButtonPressed == 1) {
			upButtonPressed = 0;
			systemState = 1;
			output_branch_state = 1;
			output_state_has_displayed = 0;
			lcd_clear();
		} else if (leftButtonPressed == 1) {
			leftButtonPressed = 0;
			output_branch_state = 1;
			systemState = 2;
			output_state_has_displayed = 0;
			lcd_clear();
		}

	} else if (output_branch_state == 2) {
		if (output_state_has_displayed == 0) {
			lcd_send_string("TYPE");
			output_state_has_displayed = 1;
		}

		if (downButtonPressed == 1) {
			downButtonPressed = 0;
			output_branch_state = 3;
			output_state_has_displayed = 0;
			lcd_clear();
		} else if (rightButtonPressed == 1) {
			rightButtonPressed = 0;
			output_branch_state = 6;
			output_state_has_displayed = 0;
			lcd_clear();
		} else if (upButtonPressed == 1) {
			upButtonPressed = 0;
			output_branch_state = 1;
			output_state_has_displayed = 0;
			lcd_clear();
		}
	} else if (output_branch_state == 3) {
		if (output_state_has_displayed == 0) {
			lcd_send_string("DC");
			output_state_has_displayed = 1;
			if (signal_type_DAC[0] == 'd')
			{
				lcd_put_cur(1,0);
				lcd_send_string("SET");
			}
		}

		if (buttonPressed == 1) {
			buttonPressed = 0;
			signal_type_DAC[0] = 'd';
			output_state_has_displayed = 0;
			lcd_clear();
		} else if (upButtonPressed == 1) {
			upButtonPressed = 0;
			output_branch_state = 2;
			output_state_has_displayed = 0;
			lcd_clear();
		} else if (rightButtonPressed == 1) {
			rightButtonPressed = 0;
			output_branch_state = 4;
			output_state_has_displayed = 0;
			lcd_clear();
		}
	} else if (output_branch_state == 4) {
		if (output_state_has_displayed == 0) {
			lcd_send_string("SINUSOIDAL");
			output_state_has_displayed = 1;
			if (signal_type_DAC[0] == 's')
			{
				lcd_put_cur(1,0);
				lcd_send_string("SET");
			}
		}

		if (buttonPressed == 1) {
			buttonPressed = 0;
			output_state_has_displayed = 0;
			signal_type_DAC[0] = 's';
			lcd_clear();
		} else if (upButtonPressed == 1) {
			upButtonPressed = 0;
			output_branch_state = 2;
			output_state_has_displayed = 0;
			lcd_clear();
		} else if (rightButtonPressed == 1) {
			rightButtonPressed = 0;
			output_branch_state = 5;
			output_state_has_displayed = 0;
			lcd_clear();
		} else if (leftButtonPressed == 1) {
			leftButtonPressed = 0;
			output_branch_state = 3;
			output_state_has_displayed = 0;
			lcd_clear();
		}
	} else if (output_branch_state == 5) {
		if (output_state_has_displayed == 0) {
			lcd_send_string("PULSE");
			output_state_has_displayed = 1;
			if (signal_type_DAC[0] == 'p')
			{
				lcd_put_cur(1,0);
				lcd_send_string("SET");
			}
		}

		if (buttonPressed == 1) {
			buttonPressed = 0;
			output_state_has_displayed = 0;
			signal_type_DAC[0] = 'p';
			lcd_clear();
		} else if (upButtonPressed == 1) {
			upButtonPressed = 0;
			output_branch_state = 2;
			output_state_has_displayed = 0;
			lcd_clear();
		} else if (leftButtonPressed == 1) {
			leftButtonPressed = 0;
			output_branch_state = 4;
			output_state_has_displayed = 0;
			lcd_clear();
		}
	} else if (output_branch_state == 6) {
		if (output_state_has_displayed == 0) {
			lcd_send_string("PARAMETER");
			output_state_has_displayed = 1;
		}

		if (downButtonPressed == 1) {
			downButtonPressed = 0;
			output_branch_state = 7;
			output_state_has_displayed = 0;
			lcd_clear();
		} else if (upButtonPressed == 1) {
			upButtonPressed = 0;
			output_branch_state = 1;
			output_state_has_displayed = 0;
			lcd_clear();
		} else if (rightButtonPressed == 1) {
			rightButtonPressed = 0;
			output_branch_state = 15;
			output_state_has_displayed = 0;
			lcd_clear();
		} else if (leftButtonPressed == 1) {
			leftButtonPressed = 0;
			output_branch_state = 2;
			output_state_has_displayed = 0;
			lcd_clear();
		}
	}
}

void branchesSevenToTen()
{
	if (output_branch_state == 7) {
		if (output_state_has_displayed == 0) {
			lcd_send_string("AMPLITUDE");
			output_state_has_displayed = 1;
		}

		if (downButtonPressed == 1) {
			downButtonPressed = 0;
			output_branch_state = 8;
			output_state_has_displayed = 0;
			lcd_clear();
		} else if (upButtonPressed == 1) {
			upButtonPressed = 0;
			output_branch_state = 6;
			output_state_has_displayed = 0;
			lcd_clear();
		} else if (rightButtonPressed == 1) {
			rightButtonPressed = 0;
			output_branch_state = 9;
			output_state_has_displayed = 0;
			lcd_clear();
		}
	} else if (output_branch_state == 8) {

		if (output_state_has_displayed == 0) {
			lcd_send_string("AMPLITUDE");
			lcd_put_cur(1, 0);
			amp = amplitude_DAC;
			char send_string[] = "XXXXmV";
			send_string[0] = (amp / 1000) + 48;
			send_string[1] = ((amp % 1000) / 100) + 48;
			send_string[2] = ((amp % 100) / 10) + 48;
			send_string[3] = (amp % 10) + 48;
			lcd_send_string(send_string);
			output_state_has_displayed = 1;
		}

		if (leftButtonPressed == 1) {
			leftButtonPressed = 0;
			lcd_put_cur(1, 0);
			if ((amp - 100) < 0) {
				amp = 2200 - (100 - amp);
			} else {
				amp = amp - 100;
			}
			char send_string[] = "XXXXmV";
			send_string[0] = (amp / 1000) + 48;
			send_string[1] = ((amp % 1000) / 100) + 48;
			send_string[2] = ((amp % 100) / 10) + 48;
			send_string[3] = (amp % 10) + 48;
			lcd_send_string(send_string);
		} else if (upButtonPressed == 1) {
			upButtonPressed = 0;
			output_branch_state = 7;
			output_state_has_displayed = 0;
			lcd_clear();
		} else if (rightButtonPressed == 1) {
			rightButtonPressed = 0;
			lcd_put_cur(1, 0);
			if ((amp + 100 > 2200)) {
				amp = (amp + 100) - 2200;
			}
			else
			{
				amp = amp + 100;
			}
			char send_string[] = "XXXXmV";
			send_string[0] = (amp / 1000) + 48;
			send_string[1] = ((amp % 1000) / 100) + 48;
			send_string[2] = ((amp % 100) / 10) + 48;
			send_string[3] = (amp % 10) + 48;
			lcd_send_string(send_string);
		} else if (buttonPressed == 1) {
			buttonPressed = 0;
			amplitude_DAC = amp;
			lcd_put_cur(1, 8);
			lcd_send_string("SET");
		}
	} else if (output_branch_state == 9) {
		if (output_state_has_displayed == 0) {
			lcd_send_string("OFFSET");
			output_state_has_displayed = 1;
		}

		if (downButtonPressed == 1) {
			downButtonPressed = 0;
			output_branch_state = 10;
			output_state_has_displayed = 0;
			lcd_clear();
		} else if (upButtonPressed == 1) {
			upButtonPressed = 0;
			output_branch_state = 6;
			output_state_has_displayed = 0;
			lcd_clear();
		} else if (rightButtonPressed == 1) {
			rightButtonPressed = 0;
			output_branch_state = 11;
			output_state_has_displayed = 0;
			lcd_clear();
		} else if (leftButtonPressed == 1) {
			leftButtonPressed = 0;
			output_branch_state = 7;
			output_state_has_displayed = 0;
			lcd_clear();
		}

	} else if (output_branch_state == 10) {
		if (output_state_has_displayed == 0) {
			lcd_send_string("OFFSET");
			lcd_put_cur(1, 0);
			if (signal_type_DAC[0] == 'd')
			{
				offset1 = DC_offset_DAC;
			}
			else
			{
				offset1 = S_offset_DAC;
			}
			char send_string[] = "XXXXmV";
			send_string[0] = (offset1 / 1000) + 48;
			send_string[1] = ((offset1 % 1000) / 100) + 48;
			send_string[2] = ((offset1 % 100) / 10) + 48;
			send_string[3] = (offset1 % 10) + 48;
			lcd_send_string(send_string);
			output_state_has_displayed = 1;
		}

		if (leftButtonPressed == 1) {
			leftButtonPressed = 0;
			lcd_put_cur(1, 0);
			if ((offset1 - 100) < 0) {
				offset1 = 2200 - (100 - offset1);
			} else {
				offset1 = offset1 - 100;
			}
			char send_string[] = "XXXXmV";
			send_string[0] = (offset1 / 1000) + 48;
			send_string[1] = ((offset1 % 1000) / 100) + 48;
			send_string[2] = ((offset1 % 100) / 10) + 48;
			send_string[3] = (offset1 % 10) + 48;
			lcd_send_string(send_string);
		} else if (upButtonPressed == 1) {
			upButtonPressed = 0;
			output_branch_state = 9;
			output_state_has_displayed = 0;
			lcd_clear();
		} else if (rightButtonPressed == 1) {
			rightButtonPressed = 0;
			lcd_put_cur(1, 0);
			if ((offset1 + 100) > 2200) {
				offset1 = (offset1 + 100) - 2200;
			} else {
				offset1 = offset1 + 100;
			}
			char send_string[] = "XXXXmV";
			send_string[0] = (offset1 / 1000) + 48;
			send_string[1] = ((offset1 % 1000) / 100) + 48;
			send_string[2] = ((offset1 % 100) / 10) + 48;
			send_string[3] = (offset1 % 10) + 48;
			lcd_send_string(send_string);
		} else if (buttonPressed == 1) {
			buttonPressed = 0;
			if (signal_type_DAC[0] == 'd')
			{
				DC_offset_DAC = offset1;
			}
			else
			{
				S_offset_DAC = offset1;
			}

			lcd_put_cur(1, 8);
			lcd_send_string("SET");
		}

	}
}

void branchesElevenToFourteen()
{
	if (output_branch_state == 11) {
		if (output_state_has_displayed == 0) {
			lcd_send_string("FREQUENCY");
			output_state_has_displayed = 1;
		}

		if (downButtonPressed == 1) {
			downButtonPressed = 0;
			output_branch_state = 12;
			output_state_has_displayed = 0;
			lcd_clear();
		} else if (upButtonPressed == 1) {
			upButtonPressed = 0;
			output_branch_state = 6;
			output_state_has_displayed = 0;
			lcd_clear();
		} else if (rightButtonPressed == 1) {
			rightButtonPressed = 0;
			output_branch_state = 13;
			output_state_has_displayed = 0;
			lcd_clear();
		} else if (leftButtonPressed == 1) {
			leftButtonPressed = 0;
			output_branch_state = 9;
			output_state_has_displayed = 0;
			lcd_clear();
		}
	} else if (output_branch_state == 12) {

		if (output_state_has_displayed == 0) {
			lcd_send_string("FREQUENCY");
			lcd_put_cur(1, 0);
			freq1 = frequency_DAC;
			char send_string[] = "XXXXHz";
			send_string[0] = (freq1 / 1000) + 48;
			send_string[1] = ((freq1 % 1000) / 100) + 48;
			send_string[2] = ((freq1 % 100) / 10) + 48;
			send_string[3] = (freq1 % 10) + 48;
			lcd_send_string(send_string);
			output_state_has_displayed = 1;
		}

		if (leftButtonPressed == 1) {
			leftButtonPressed = 0;
			lcd_put_cur(1, 0);
			if ((freq1 - 100) < 0) {
				freq1 = 2200 - (100 - freq1);
			} else {
				freq1 = freq1 - 100;
			}
			char send_string[] = "XXXXHz";
			send_string[0] = (freq1 / 1000) + 48;
			send_string[1] = ((freq1 % 1000) / 100) + 48;
			send_string[2] = ((freq1 % 100) / 10) + 48;
			send_string[3] = (freq1 % 10) + 48;
			lcd_send_string(send_string);
		} else if (upButtonPressed == 1) {
			upButtonPressed = 0;
			output_branch_state = 11;
			output_state_has_displayed = 0;
			lcd_clear();
		} else if (rightButtonPressed == 1) {
			rightButtonPressed = 0;
			lcd_put_cur(1, 0);
			if ((freq1 + 100 > 2200)) {
				freq1 = (freq1 + 100) - 2200;
			}
			else
			{
				freq1 = freq+100;
			}
			char send_string[] = "XXXXHz";
			send_string[0] = (freq1 / 1000) + 48;
			send_string[1] = ((freq1 % 1000) / 100) + 48;
			send_string[2] = ((freq1 % 100) / 10) + 48;
			send_string[3] = (freq1 % 10) + 48;
			lcd_send_string(send_string);
		} else if (buttonPressed == 1) {
			buttonPressed = 0;
			frequency_DAC = freq1;
			lcd_put_cur(1, 8);
			lcd_send_string("SET");
		}
	}
	else if (output_branch_state == 13)
	{
		if (output_state_has_displayed == 0) {
					lcd_send_string("DUTY CYCLE");
					output_state_has_displayed = 1;
				}

				if (downButtonPressed == 1) {
					downButtonPressed = 0;
					output_branch_state = 14;
					output_state_has_displayed = 0;
					lcd_clear();
				} else if (upButtonPressed == 1) {
					upButtonPressed = 0;
					output_branch_state = 6;
					output_state_has_displayed = 0;
					lcd_clear();
				} else if (leftButtonPressed == 1) {
					leftButtonPressed = 0;
					output_branch_state = 11;
					output_state_has_displayed = 0;
					lcd_clear();
				}
	}
	else if (output_branch_state == 14)
	{
		if (output_state_has_displayed == 0) {
					lcd_send_string("DUTY CYCLE");
					lcd_put_cur(1, 0);
					dutcyc = duty_cycle_DAC;
					char send_string[] = "XXX%";
					send_string[0] = (dutcyc/100) + 48;
					send_string[1] = ((dutcyc % 100)/10) + 48;
					send_string[2] = (dutcyc % 10) + 48;
					lcd_send_string(send_string);
					output_state_has_displayed = 1;
				}

				if (leftButtonPressed == 1) {
					leftButtonPressed = 0;
					if ((dutcyc - 10) < 0) {
						dutcyc = 100 - (10 - dutcyc);
					} else {
						dutcyc = dutcyc - 10;
					}
					lcd_put_cur(1, 0);
					char send_string[] = "XXX%";
					send_string[0] = (dutcyc/100) + 48;
					send_string[1] = ((dutcyc % 100)/10) + 48;
					send_string[2] = (dutcyc % 10) + 48;
					lcd_send_string(send_string);
				} else if (upButtonPressed == 1) {
					upButtonPressed = 0;
					output_branch_state = 13;
					output_state_has_displayed = 0;
					lcd_clear();
				} else if (rightButtonPressed == 1) {
					rightButtonPressed = 0;
					lcd_put_cur(1, 0);
					if ((dutcyc + 10 > 100)) {
						dutcyc = (dutcyc + 10) - 100;
					}
					else
					{
						dutcyc = dutcyc+10;
					}
					char send_string[] = "XXX%";
					send_string[0] = (dutcyc/100) + 48;
					send_string[1] = ((dutcyc % 100)/10) + 48;
					send_string[2] = (dutcyc % 10) + 48;
					lcd_send_string(send_string);
				} else if (buttonPressed == 1) {
					buttonPressed = 0;
					duty_cycle_DAC = dutcyc;
					lcd_put_cur(6, 0);
					lcd_send_string("SET");
				}
	}
}

void branchesFifteenToSeventeen()
{
	if (output_branch_state == 15)
	{
		if (output_state_has_displayed == 0) {
					lcd_send_string("OUTPUT");
					output_state_has_displayed = 1;
				}
				if (downButtonPressed == 1) {
					downButtonPressed = 0;
					output_branch_state = 16;
					output_state_has_displayed = 0;
					lcd_clear();
				} else if (leftButtonPressed == 1) {
					leftButtonPressed = 0;
					output_branch_state = 6;
					output_state_has_displayed = 0;
					lcd_clear();
				} else if (upButtonPressed == 1) {
					upButtonPressed = 0;
					output_branch_state = 1;
					output_state_has_displayed = 0;
					lcd_clear();
				}
	}
	else if (output_branch_state == 16)
	{
		if (output_state_has_displayed == 0) {
			lcd_send_string("OUTPUT ON");
			if (outputState == 1)
			{
				stopDMA = 0;
				lcd_put_cur(1, 0);
				lcd_send_string("SET");
			}
			output_state_has_displayed = 1;
		}

		if (rightButtonPressed == 1) {
			rightButtonPressed = 0;
			output_branch_state = 17;
			output_state_has_displayed = 0;
			lcd_clear();
		} else if (upButtonPressed == 1) {
			upButtonPressed = 0;
			output_branch_state = 15;
			output_state_has_displayed = 0;
			lcd_clear();
		} else if (buttonPressed == 1) {
			buttonPressed = 0;
			outputState = 1;
			stopDMA = 0;
			output_state_has_displayed = 0;
			lcd_clear();
		}
	}
	else if (output_branch_state == 17)
	{
		if (output_state_has_displayed == 0) {
					lcd_send_string("OUTPUT OFF");
					if (outputState == 0)
					{
						lcd_put_cur(1,0);
						lcd_send_string("SET");
					}
					output_state_has_displayed = 1;
				}

				if (leftButtonPressed == 1) {
					leftButtonPressed = 0;
					output_branch_state = 16;
					output_state_has_displayed = 0;
					lcd_clear();
				} else if (upButtonPressed == 1) {
					upButtonPressed = 0;
					output_branch_state = 15;
					output_state_has_displayed = 0;
					lcd_clear();
				} else if (buttonPressed == 1) {
					buttonPressed = 0;
					outputState = 0;
					output_state_has_displayed = 0;
					output_LED_has_displayed = 0;
					lcd_clear();
				}
	}
}

void executeOutputState()
{
	branchesOneToSix();
	branchesSevenToTen();
	branchesElevenToFourteen();
	branchesFifteenToSeventeen();
}

void executeDisplayAndButtons()
{
	if (display_state == 1) {
		if (systemState == 1) {
				executeStartMessage();
		} else if (systemState == 2) {
				executeMeasurementState();
		} else if (systemState == 3) {
				executeOutputState();
		}
	} else if (display_state == 2) {
			executeMeasurementOutput();
		}
	if (outputState == 1)
	{
		if (output_LED_has_displayed == 0)
		{
			output_LED_has_displayed = 1;
			HAL_GPIO_WritePin(GPIOC, GPIO_PIN_7, 1);
		}
	}
	else
	{
		HAL_GPIO_WritePin(GPIOC, GPIO_PIN_7, 0);
	}
}

/* USER CODE END 0 */

int main(void)
{
  /* USER CODE BEGIN 1 */
	ADC_trigger = 0;
	buttonPressed = 0;
	systemState = 1;
  /* USER CODE END 1 */

  /* MCU Configuration--------------------------------------------------------*/

  /* Reset of all peripherals, Initializes the Flash interface and the Systick. */
  HAL_Init();

  /* Configure the system clock */
  SystemClock_Config();

  /* Initialize all configured peripherals */
  MX_GPIO_Init();
  MX_DMA_Init();
  MX_USART2_UART_Init();
  MX_ADC1_Init();
  MX_DAC1_Init();
  MX_TIM2_Init();
  MX_TIM3_Init();
  MX_TIM1_Init();
  /* USER CODE BEGIN 2 */

	HAL_UART_Transmit(&huart2, sn, 13, 50);
	HAL_UART_Receive_IT(&huart2, rx, 1);
	HAL_GPIO_WritePin(GPIOB, GPIO_PIN_5, 1);
	HAL_TIM_Base_Start_IT(&htim2);

	HAL_TIM_Base_Start(&htim1);
	lcd_init();
	lcd_send_cmd(0x28);

	/*HAL_TIM_Base_Start(&htim3);
	calculateDCSignalBuffer(1000);
	HAL_DAC_Start_DMA(&hdac1, DAC1_CHANNEL_1, signal_buffer, 1000, DAC_ALIGN_12B_R);
*/

  /* USER CODE END 2 */

  /* Infinite loop */
  while (1)
  {

    /* USER CODE BEGIN 3 */

	  	 //Menu and state execution

		//Commands received from TS
			if (receiveCommand == 1) {
		 receiveCommand = 0;
		 determineCommandType();
		 executeCommand();
		 }

			executeDisplayAndButtons();

		//receive and measure the input signal and then store the value measured in the correct variables
		// Output a signal based on certain parameters if output state is on.
		measure_ADC_output_DAC();
  }

  /* USER CODE END 3 */
}

void SystemClock_Config(void)
{
  RCC_OscInitTypeDef RCC_OscInitStruct = {0};
  RCC_ClkInitTypeDef RCC_ClkInitStruct = {0};
  RCC_PeriphCLKInitTypeDef PeriphClkInit = {0};

  /** Initializes the CPU, AHB and APB busses clocks
  */
  RCC_OscInitStruct.OscillatorType = RCC_OSCILLATORTYPE_HSI;
  RCC_OscInitStruct.HSIState = RCC_HSI_ON;
  RCC_OscInitStruct.HSICalibrationValue = RCC_HSICALIBRATION_DEFAULT;
  RCC_OscInitStruct.PLL.PLLState = RCC_PLL_ON;
  RCC_OscInitStruct.PLL.PLLSource = RCC_PLLSOURCE_HSI;
  RCC_OscInitStruct.PLL.PLLMUL = RCC_PLL_MUL9;
  RCC_OscInitStruct.PLL.PREDIV = RCC_PREDIV_DIV1;
  if (HAL_RCC_OscConfig(&RCC_OscInitStruct) != HAL_OK)
  {
    Error_Handler();
  }
  /** Initializes the CPU, AHB and APB busses clocks
  */
  RCC_ClkInitStruct.ClockType = RCC_CLOCKTYPE_HCLK|RCC_CLOCKTYPE_SYSCLK
                              |RCC_CLOCKTYPE_PCLK1|RCC_CLOCKTYPE_PCLK2;
  RCC_ClkInitStruct.SYSCLKSource = RCC_SYSCLKSOURCE_PLLCLK;
  RCC_ClkInitStruct.AHBCLKDivider = RCC_SYSCLK_DIV1;
  RCC_ClkInitStruct.APB1CLKDivider = RCC_HCLK_DIV2;
  RCC_ClkInitStruct.APB2CLKDivider = RCC_HCLK_DIV1;

  if (HAL_RCC_ClockConfig(&RCC_ClkInitStruct, FLASH_LATENCY_2) != HAL_OK)
  {
    Error_Handler();
  }
  PeriphClkInit.PeriphClockSelection = RCC_PERIPHCLK_USART2|RCC_PERIPHCLK_TIM1
                              |RCC_PERIPHCLK_ADC12|RCC_PERIPHCLK_TIM2
                              |RCC_PERIPHCLK_TIM34;
  PeriphClkInit.Usart2ClockSelection = RCC_USART2CLKSOURCE_PCLK1;
  PeriphClkInit.Adc12ClockSelection = RCC_ADC12PLLCLK_DIV1;
  PeriphClkInit.Tim1ClockSelection = RCC_TIM1CLK_HCLK;
  PeriphClkInit.Tim2ClockSelection = RCC_TIM2CLK_HCLK;
  PeriphClkInit.Tim34ClockSelection = RCC_TIM34CLK_HCLK;
  if (HAL_RCCEx_PeriphCLKConfig(&PeriphClkInit) != HAL_OK)
  {
    Error_Handler();
  }
}

static void MX_ADC1_Init(void)
{

  ADC_MultiModeTypeDef multimode = {0};
  ADC_ChannelConfTypeDef sConfig = {0};

  /** Common config
  */
  hadc1.Instance = ADC1;
  hadc1.Init.ClockPrescaler = ADC_CLOCK_ASYNC_DIV1;
  hadc1.Init.Resolution = ADC_RESOLUTION_12B;
  hadc1.Init.ScanConvMode = ADC_SCAN_DISABLE;
  hadc1.Init.ContinuousConvMode = DISABLE;
  hadc1.Init.DiscontinuousConvMode = DISABLE;
  hadc1.Init.ExternalTrigConvEdge = ADC_EXTERNALTRIGCONVEDGE_NONE;
  hadc1.Init.ExternalTrigConv = ADC_SOFTWARE_START;
  hadc1.Init.DataAlign = ADC_DATAALIGN_RIGHT;
  hadc1.Init.NbrOfConversion = 1;
  hadc1.Init.DMAContinuousRequests = DISABLE;
  hadc1.Init.EOCSelection = ADC_EOC_SINGLE_CONV;
  hadc1.Init.LowPowerAutoWait = DISABLE;
  hadc1.Init.Overrun = ADC_OVR_DATA_OVERWRITTEN;
  if (HAL_ADC_Init(&hadc1) != HAL_OK)
  {
    Error_Handler();
  }
  /** Configure the ADC multi-mode
  */
  multimode.Mode = ADC_MODE_INDEPENDENT;
  if (HAL_ADCEx_MultiModeConfigChannel(&hadc1, &multimode) != HAL_OK)
  {
    Error_Handler();
  }
  /** Configure Regular Channel
  */
  sConfig.Channel = ADC_CHANNEL_1;
  sConfig.Rank = ADC_REGULAR_RANK_1;
  sConfig.SingleDiff = ADC_SINGLE_ENDED;
  sConfig.SamplingTime = ADC_SAMPLETIME_1CYCLE_5;
  sConfig.OffsetNumber = ADC_OFFSET_NONE;
  sConfig.Offset = 0;
  if (HAL_ADC_ConfigChannel(&hadc1, &sConfig) != HAL_OK)
  {
    Error_Handler();
  }

}

static void MX_DAC1_Init(void)
{

  DAC_ChannelConfTypeDef sConfig = {0};

  /** DAC Initialization
  */
  hdac1.Instance = DAC1;
  if (HAL_DAC_Init(&hdac1) != HAL_OK)
  {
    Error_Handler();
  }
  /** DAC channel OUT1 config
  */
  sConfig.DAC_Trigger = DAC_TRIGGER_T3_TRGO;
  sConfig.DAC_OutputBuffer = DAC_OUTPUTBUFFER_ENABLE;
  if (HAL_DAC_ConfigChannel(&hdac1, &sConfig, DAC_CHANNEL_1) != HAL_OK)
  {
    Error_Handler();
  }
  __HAL_REMAPTRIGGER_ENABLE(HAL_REMAPTRIGGER_DAC1_TRIG);

}

static void MX_TIM1_Init(void)
{

  TIM_ClockConfigTypeDef sClockSourceConfig = {0};
  TIM_MasterConfigTypeDef sMasterConfig = {0};

  htim1.Instance = TIM1;
  htim1.Init.Prescaler = 72-1;
  htim1.Init.CounterMode = TIM_COUNTERMODE_UP;
  htim1.Init.Period = 0xffff;
  htim1.Init.ClockDivision = TIM_CLOCKDIVISION_DIV1;
  htim1.Init.RepetitionCounter = 0;
  htim1.Init.AutoReloadPreload = TIM_AUTORELOAD_PRELOAD_DISABLE;
  if (HAL_TIM_Base_Init(&htim1) != HAL_OK)
  {
    Error_Handler();
  }
  sClockSourceConfig.ClockSource = TIM_CLOCKSOURCE_INTERNAL;
  if (HAL_TIM_ConfigClockSource(&htim1, &sClockSourceConfig) != HAL_OK)
  {
    Error_Handler();
  }
  sMasterConfig.MasterOutputTrigger = TIM_TRGO_RESET;
  sMasterConfig.MasterOutputTrigger2 = TIM_TRGO2_RESET;
  sMasterConfig.MasterSlaveMode = TIM_MASTERSLAVEMODE_DISABLE;
  if (HAL_TIMEx_MasterConfigSynchronization(&htim1, &sMasterConfig) != HAL_OK)
  {
    Error_Handler();
  }

}

static void MX_TIM2_Init(void)
{

  TIM_ClockConfigTypeDef sClockSourceConfig = {0};
  TIM_MasterConfigTypeDef sMasterConfig = {0};
  TIM_OC_InitTypeDef sConfigOC = {0};

  htim2.Instance = TIM2;
  htim2.Init.Prescaler = 71;
  htim2.Init.CounterMode = TIM_COUNTERMODE_UP;
  htim2.Init.Period = 99;
  htim2.Init.ClockDivision = TIM_CLOCKDIVISION_DIV1;
  htim2.Init.AutoReloadPreload = TIM_AUTORELOAD_PRELOAD_DISABLE;
  if (HAL_TIM_Base_Init(&htim2) != HAL_OK)
  {
    Error_Handler();
  }
  sClockSourceConfig.ClockSource = TIM_CLOCKSOURCE_INTERNAL;
  if (HAL_TIM_ConfigClockSource(&htim2, &sClockSourceConfig) != HAL_OK)
  {
    Error_Handler();
  }
  if (HAL_TIM_OC_Init(&htim2) != HAL_OK)
  {
    Error_Handler();
  }
  sMasterConfig.MasterOutputTrigger = TIM_TRGO_RESET;
  sMasterConfig.MasterSlaveMode = TIM_MASTERSLAVEMODE_DISABLE;
  if (HAL_TIMEx_MasterConfigSynchronization(&htim2, &sMasterConfig) != HAL_OK)
  {
    Error_Handler();
  }
  sConfigOC.OCMode = TIM_OCMODE_TIMING;
  sConfigOC.Pulse = 0;
  sConfigOC.OCPolarity = TIM_OCPOLARITY_HIGH;
  sConfigOC.OCFastMode = TIM_OCFAST_DISABLE;
  if (HAL_TIM_OC_ConfigChannel(&htim2, &sConfigOC, TIM_CHANNEL_1) != HAL_OK)
  {
    Error_Handler();
  }
  HAL_TIM_MspPostInit(&htim2);

}

static void MX_TIM3_Init(void)
{

  TIM_ClockConfigTypeDef sClockSourceConfig = {0};
  TIM_MasterConfigTypeDef sMasterConfig = {0};

  htim3.Instance = TIM3;
  htim3.Init.Prescaler = 72-1;
  htim3.Init.CounterMode = TIM_COUNTERMODE_UP;
  htim3.Init.Period = 10-1;
  htim3.Init.ClockDivision = TIM_CLOCKDIVISION_DIV1;
  htim3.Init.AutoReloadPreload = TIM_AUTORELOAD_PRELOAD_DISABLE;
  if (HAL_TIM_Base_Init(&htim3) != HAL_OK)
  {
    Error_Handler();
  }
  sClockSourceConfig.ClockSource = TIM_CLOCKSOURCE_INTERNAL;
  if (HAL_TIM_ConfigClockSource(&htim3, &sClockSourceConfig) != HAL_OK)
  {
    Error_Handler();
  }
  sMasterConfig.MasterOutputTrigger = TIM_TRGO_UPDATE;
  sMasterConfig.MasterSlaveMode = TIM_MASTERSLAVEMODE_DISABLE;
  if (HAL_TIMEx_MasterConfigSynchronization(&htim3, &sMasterConfig) != HAL_OK)
  {
    Error_Handler();
  }

}

static void MX_USART2_UART_Init(void)
{

  huart2.Instance = USART2;
  huart2.Init.BaudRate = 115200;
  huart2.Init.WordLength = UART_WORDLENGTH_8B;
  huart2.Init.StopBits = UART_STOPBITS_1;
  huart2.Init.Parity = UART_PARITY_NONE;
  huart2.Init.Mode = UART_MODE_TX_RX;
  huart2.Init.HwFlowCtl = UART_HWCONTROL_NONE;
  huart2.Init.OverSampling = UART_OVERSAMPLING_16;
  huart2.Init.OneBitSampling = UART_ONE_BIT_SAMPLE_DISABLE;
  huart2.AdvancedInit.AdvFeatureInit = UART_ADVFEATURE_NO_INIT;
  if (HAL_UART_Init(&huart2) != HAL_OK)
  {
    Error_Handler();
  }

}

static void MX_DMA_Init(void)
{

  /* DMA controller clock enable */
  __HAL_RCC_DMA1_CLK_ENABLE();

  /* DMA interrupt init */
  /* DMA1_Channel3_IRQn interrupt configuration */
  HAL_NVIC_SetPriority(DMA1_Channel3_IRQn, 0, 0);
  HAL_NVIC_EnableIRQ(DMA1_Channel3_IRQn);

}

static void MX_GPIO_Init(void)
{
  GPIO_InitTypeDef GPIO_InitStruct = {0};

  /* GPIO Ports Clock Enable */
  __HAL_RCC_GPIOC_CLK_ENABLE();
  __HAL_RCC_GPIOF_CLK_ENABLE();
  __HAL_RCC_GPIOA_CLK_ENABLE();
  __HAL_RCC_GPIOB_CLK_ENABLE();

  /*Configure GPIO pin Output Level */
  HAL_GPIO_WritePin(GPIOB, GPIO_PIN_1|GPIO_PIN_10|GPIO_PIN_14|GPIO_PIN_15
                          |GPIO_PIN_5, GPIO_PIN_RESET);

  /*Configure GPIO pin Output Level */
  HAL_GPIO_WritePin(GPIOC, GPIO_PIN_6|GPIO_PIN_7|GPIO_PIN_8, GPIO_PIN_RESET);

  /*Configure GPIO pin Output Level */
  HAL_GPIO_WritePin(GPIOA, GPIO_PIN_8|GPIO_PIN_10|GPIO_PIN_12, GPIO_PIN_RESET);

  /*Configure GPIO pins : PA6 PA7 */
  GPIO_InitStruct.Pin = GPIO_PIN_6|GPIO_PIN_7;
  GPIO_InitStruct.Mode = GPIO_MODE_IT_RISING;
  GPIO_InitStruct.Pull = GPIO_PULLUP;
  HAL_GPIO_Init(GPIOA, &GPIO_InitStruct);

  /*Configure GPIO pins : PB1 PB10 PB14 PB15
                           PB5 */
  GPIO_InitStruct.Pin = GPIO_PIN_1|GPIO_PIN_10|GPIO_PIN_14|GPIO_PIN_15
                          |GPIO_PIN_5;
  GPIO_InitStruct.Mode = GPIO_MODE_OUTPUT_PP;
  GPIO_InitStruct.Pull = GPIO_NOPULL;
  GPIO_InitStruct.Speed = GPIO_SPEED_FREQ_LOW;
  HAL_GPIO_Init(GPIOB, &GPIO_InitStruct);

  /*Configure GPIO pins : PC6 PC8 */
  GPIO_InitStruct.Pin = GPIO_PIN_6|GPIO_PIN_8;
  GPIO_InitStruct.Mode = GPIO_MODE_OUTPUT_OD;
  GPIO_InitStruct.Pull = GPIO_NOPULL;
  GPIO_InitStruct.Speed = GPIO_SPEED_FREQ_LOW;
  HAL_GPIO_Init(GPIOC, &GPIO_InitStruct);

  /*Configure GPIO pin : PC7 */
  GPIO_InitStruct.Pin = GPIO_PIN_7;
  GPIO_InitStruct.Mode = GPIO_MODE_OUTPUT_PP;
  GPIO_InitStruct.Pull = GPIO_NOPULL;
  GPIO_InitStruct.Speed = GPIO_SPEED_FREQ_LOW;
  HAL_GPIO_Init(GPIOC, &GPIO_InitStruct);

  /*Configure GPIO pin : PA8 */
  GPIO_InitStruct.Pin = GPIO_PIN_8;
  GPIO_InitStruct.Mode = GPIO_MODE_OUTPUT_PP;
  GPIO_InitStruct.Pull = GPIO_NOPULL;
  GPIO_InitStruct.Speed = GPIO_SPEED_FREQ_LOW;
  HAL_GPIO_Init(GPIOA, &GPIO_InitStruct);

  /*Configure GPIO pins : PA10 PA12 */
  GPIO_InitStruct.Pin = GPIO_PIN_10|GPIO_PIN_12;
  GPIO_InitStruct.Mode = GPIO_MODE_OUTPUT_OD;
  GPIO_InitStruct.Pull = GPIO_NOPULL;
  GPIO_InitStruct.Speed = GPIO_SPEED_FREQ_LOW;
  HAL_GPIO_Init(GPIOA, &GPIO_InitStruct);

  /*Configure GPIO pins : PB4 PB8 PB9 */
  GPIO_InitStruct.Pin = GPIO_PIN_4|GPIO_PIN_8|GPIO_PIN_9;
  GPIO_InitStruct.Mode = GPIO_MODE_IT_RISING;
  GPIO_InitStruct.Pull = GPIO_PULLUP;
  HAL_GPIO_Init(GPIOB, &GPIO_InitStruct);

  /* EXTI interrupt init*/
  HAL_NVIC_SetPriority(EXTI4_IRQn, 0, 0);
  HAL_NVIC_EnableIRQ(EXTI4_IRQn);

  HAL_NVIC_SetPriority(EXTI9_5_IRQn, 0, 0);
  HAL_NVIC_EnableIRQ(EXTI9_5_IRQn);

}

void Error_Handler(void)
{
}

/************************ (C) COPYRIGHT STMicroelectronics *****END OF FILE****/
